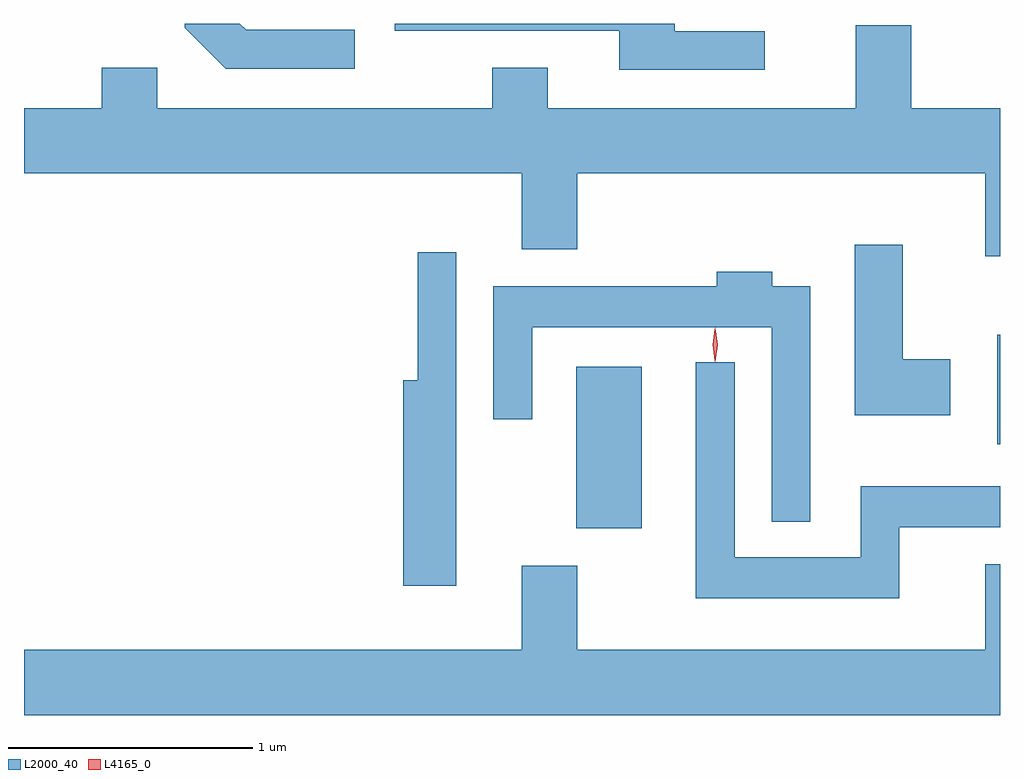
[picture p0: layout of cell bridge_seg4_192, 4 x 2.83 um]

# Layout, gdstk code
import gdstk
lib = gdstk.Library(unit=1e-6, precision=1e-09)
def R(c, l, rs):  # rectangles x0, y0, x1, y1
    for r in rs: c.add(gdstk.rectangle(r[:2], r[2:], *l))
def P(c, l, *ps):  # polygons
    for p in ps: c.add(gdstk.Polygon(p, *l))
L2000_40 = (2000, 40)
L4165_0 = (4165, 0)

bridge_seg4_192 = lib.new_cell('bridge_seg4_192')
R(bridge_seg4_192, L2000_40, [(969.326,1319.921,969.594,1320.584), (971.051,1320.266,971.062,1320.714)])
P(bridge_seg4_192, L2000_40, [(970.098,1321.959),(969.729,1321.959),(969.729,1321.989),(968.581,1321.989),(968.581,1321.961),(969.501,1321.961),(969.501,1321.801),(970.098,1321.801)],
  [(968.418,1321.964),(967.972,1321.964),(967.947,1321.989),(967.721,1321.989),(967.721,1321.974),(967.889,1321.806),(968.418,1321.806)],
  [(971.062,1321.644),(970.699,1321.644),(970.699,1321.984),(970.471,1321.984),(970.471,1321.644),(969.209,1321.644),(969.209,1321.809),(968.981,1321.809),(968.981,1321.644),(967.609,1321.644),(967.609,1321.809),(967.381,1321.809),(967.381,1321.644),(967.062,1321.644),(967.062,1321.376),(969.101,1321.376),(969.101,1321.066),(969.329,1321.066),(969.329,1321.376),(971.001,1321.376),(971.001,1321.036),(971.062,1321.036)],
  [(970.859,1320.614),(970.664,1320.614),(970.664,1321.084),(970.466,1321.084),(970.466,1320.386),(970.859,1320.386)],
  [(968.834,1321.053),(968.676,1321.053),(968.676,1320.529),(968.616,1320.529),(968.616,1319.686),(968.834,1319.686)],
  [(970.284,1320.914),(970.129,1320.914),(970.129,1320.974),(969.901,1320.974),(969.901,1320.914),(968.986,1320.914),(968.986,1320.368),(969.144,1320.368),(969.144,1320.746),(970.126,1320.746),(970.126,1319.948),(970.284,1319.948)],
  [(970.649,1319.926),(971.062,1319.926),(971.062,1320.094),(970.491,1320.094),(970.491,1319.804),(969.974,1319.804),(969.974,1320.603),(969.816,1320.603),(969.816,1319.636),(970.649,1319.636)],
  [(971.062,1319.774),(971.001,1319.774),(971.001,1319.424),(969.329,1319.424),(969.329,1319.769),(969.101,1319.769),(969.101,1319.424),(967.062,1319.424),(967.062,1319.156),(971.062,1319.156)])
P(bridge_seg4_192, L4165_0, [(969.894,1320.604),(969.885,1320.674),(969.894,1320.742),(969.895,1320.743),(969.895,1320.742),(969.905,1320.674),(969.895,1320.604),(969.895,1320.604)],
  [(969.894,1320.607),(969.893,1320.608),(969.884,1320.674),(969.893,1320.74),(969.894,1320.74),(969.894,1320.74),(969.904,1320.674),(969.894,1320.608)])

lib.write_gds('bridge_seg4_192.gds')
